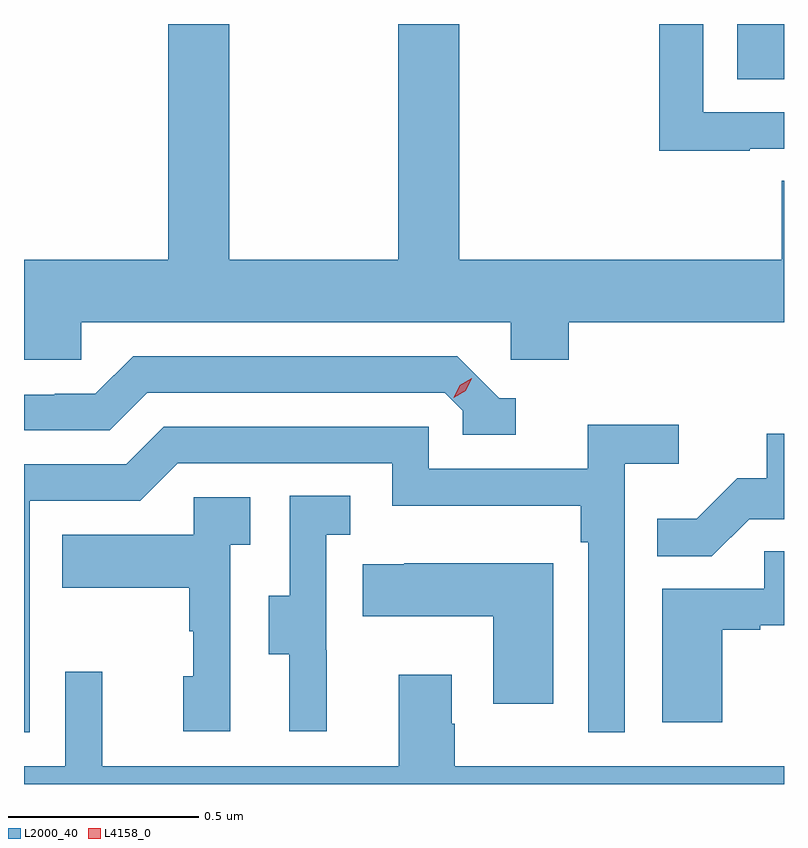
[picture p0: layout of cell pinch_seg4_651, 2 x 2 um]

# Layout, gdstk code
import gdstk
lib = gdstk.Library(unit=1e-6, precision=1e-09)
def R(c, l, rs):  # rectangles x0, y0, x1, y1
    for r in rs: c.add(gdstk.rectangle(r[:2], r[2:], *l))
def P(c, l, *ps):  # polygons
    for p in ps: c.add(gdstk.Polygon(p, *l))
L2000_40 = (2000, 40)
L4158_0 = (4158, 0)

pinch_seg4_651 = lib.new_cell('pinch_seg4_651')
R(pinch_seg4_651, L2000_40, [(1045.994,760.164,1046.117,760.309)])
P(pinch_seg4_651, L2000_40, [(1044.267,759.524),(1045.398,759.524),(1045.398,759.426),(1045.55,759.426),(1045.55,759.524),(1046.117,759.524),(1046.117,759.896),(1046.111,759.896),(1046.111,759.688),(1045.262,759.688),(1045.262,760.309),(1045.102,760.309),(1045.102,759.688),(1044.657,759.688),(1044.657,760.309),(1044.497,760.309),(1044.497,759.688),(1044.117,759.688),(1044.117,759.426),(1044.267,759.426)],
  [(1046.027,759.981),(1046.117,759.981),(1046.117,760.077),(1045.905,760.077),(1045.905,760.309),(1045.789,760.309),(1045.789,759.976),(1046.027,759.976)],
  [(1045.411,759.324),(1045.368,759.324),(1045.257,759.435),(1044.404,759.435),(1044.305,759.336),(1044.198,759.336),(1044.198,759.333),(1044.117,759.333),(1044.117,759.24),(1044.342,759.24),(1044.441,759.339),(1045.224,759.339),(1045.272,759.291),(1045.272,759.228),(1045.411,759.228)],
  [(1044.132,759.054),(1044.423,759.054),(1044.522,759.153),(1045.086,759.153),(1045.086,759.041),(1045.582,759.041),(1045.582,758.945),(1045.602,758.945),(1045.602,758.445),(1045.698,758.445),(1045.698,759.152),(1045.84,759.152),(1045.84,759.254),(1045.601,759.254),(1045.601,759.138),(1045.182,759.138),(1045.182,759.249),(1044.485,759.249),(1044.386,759.15),(1044.117,759.15),(1044.117,758.445),(1044.132,758.445)],
  [(1046.025,759.006),(1046.117,759.006),(1046.117,759.231),(1046.071,759.231),(1046.071,759.114),(1045.994,759.114),(1045.887,759.007),(1045.783,759.007),(1045.783,758.908),(1045.927,758.908)],
  [(1044.914,758.661),(1044.912,758.661),(1044.912,758.965),(1044.976,758.965),(1044.976,759.068),(1044.816,759.068),(1044.816,758.805),(1044.761,758.805),(1044.761,758.65),(1044.815,758.65),(1044.815,758.448),(1044.914,758.448)],
  [(1044.66,758.939),(1044.712,758.939),(1044.712,759.063),(1044.564,759.063),(1044.564,758.965),(1044.217,758.965),(1044.217,758.825),(1044.552,758.825),(1044.552,758.711),(1044.562,758.711),(1044.562,758.592),(1044.536,758.592),(1044.536,758.448),(1044.66,758.448)],
  [(1045.954,758.715),(1046.054,758.715),(1046.054,758.727),(1046.117,758.727),(1046.117,758.921),(1046.065,758.921),(1046.065,758.823),(1045.796,758.823),(1045.796,758.472),(1045.954,758.472)],
  [(1045.51,758.89),(1045.117,758.89),(1045.117,758.887),(1045.009,758.887),(1045.009,758.75),(1045.352,758.75),(1045.352,758.52),(1045.51,758.52)],
  [(1046.117,758.356),(1045.251,758.356),(1045.251,758.468),(1045.243,758.468),(1045.243,758.596),(1045.103,758.596),(1045.103,758.356),(1044.323,758.356),(1044.323,758.605),(1044.225,758.605),(1044.225,758.356),(1044.117,758.356),(1044.117,758.309),(1046.117,758.309)])
P(pinch_seg4_651, L4158_0, [(1045.248,759.325),(1045.248,759.326),(1045.264,759.358),(1045.295,759.377),(1045.295,759.377),(1045.295,759.377),(1045.279,759.344),(1045.248,759.325)])

lib.write_gds('pinch_seg4_651.gds')
